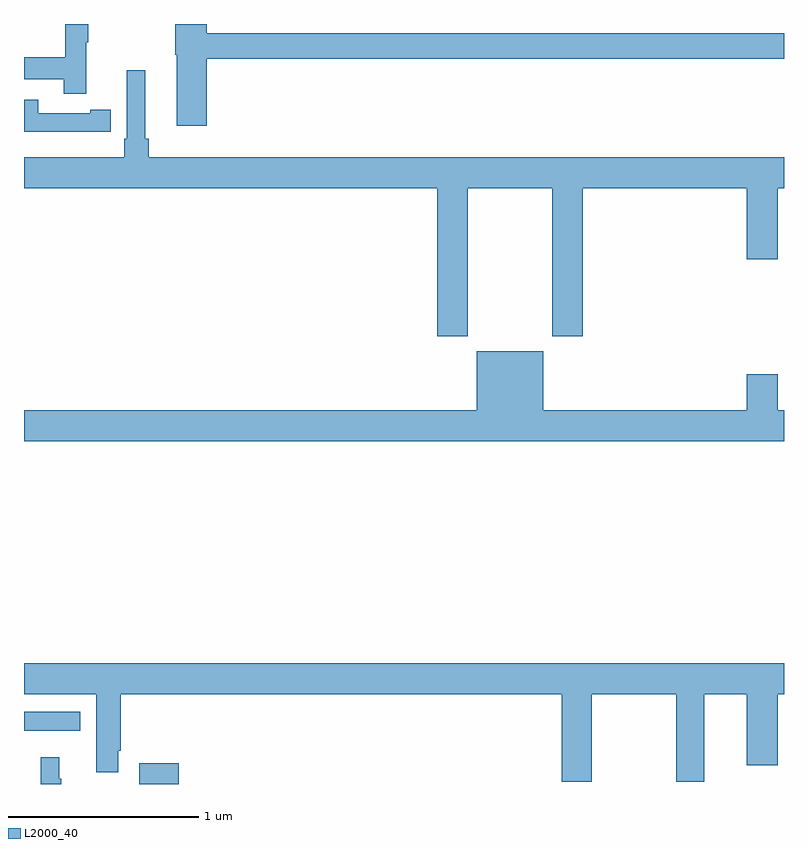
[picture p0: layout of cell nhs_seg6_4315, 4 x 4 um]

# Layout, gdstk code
import gdstk
lib = gdstk.Library(unit=1e-6, precision=1e-09)
def R(c, l, rs):  # rectangles x0, y0, x1, y1
    for r in rs: c.add(gdstk.rectangle(r[:2], r[2:], *l))
def P(c, l, *ps):  # polygons
    for p in ps: c.add(gdstk.Polygon(p, *l))
L2000_40 = (2000, 40)

nhs_seg6_4315 = lib.new_cell('nhs_seg6_4315')
R(nhs_seg6_4315, L2000_40, [(365.606,977.5,365.815,977.608), (365,977.78,365.296,977.881)])
P(nhs_seg6_4315, L2000_40, [(365.327,981.403),(365.338,981.403),(365.338,981.5),(365.217,981.5),(365.217,981.326),(365,981.326),(365,981.21),(365.209,981.21),(365.209,981.132),(365.327,981.132)],
  [(365.963,981.316),(369,981.316),(369,981.452),(365.963,981.452),(365.963,981.5),(365.797,981.5),(365.797,981.339),(365.804,981.339),(365.804,980.964),(365.963,980.964)],
  [(367.335,980.636),(367.78,980.636),(367.78,979.857),(367.94,979.857),(367.94,980.636),(368.804,980.636),(368.804,980.262),(368.968,980.262),(368.968,980.636),(369,980.636),(369,980.8),(365.657,980.8),(365.657,980.896),(365.638,980.896),(365.638,981.256),(365.541,981.256),(365.541,980.896),(365.528,980.896),(365.528,980.8),(365,980.8),(365,980.636),(367.175,980.636),(367.175,979.857),(367.335,979.857)],
  [(365.348,980.934),(365.456,980.934),(365.456,981.05),(365.348,981.05),(365.348,981.03),(365.076,981.03),(365.076,981.102),(365,981.102),(365,980.933),(365.348,980.933)],
  [(369,979.468),(368.968,979.468),(368.968,979.657),(368.804,979.657),(368.804,979.468),(367.732,979.468),(367.732,979.777),(367.382,979.777),(367.382,979.468),(365,979.468),(365,979.304),(369,979.304)],
  [(367.989,977.972),(368.434,977.972),(368.434,977.511),(368.581,977.511),(368.581,977.972),(368.804,977.972),(368.804,977.598),(368.968,977.598),(368.968,977.972),(369,977.972),(369,978.136),(365,978.136),(365,977.972),(365.381,977.972),(365.381,977.562),(365.497,977.562),(365.497,977.674),(365.51,977.674),(365.51,977.972),(367.829,977.972),(367.829,977.511),(367.989,977.511)],
  [(365.197,977.528),(365.186,977.528),(365.186,977.641),(365.087,977.641),(365.087,977.5),(365.197,977.5)])

lib.write_gds('nhs_seg6_4315.gds')
